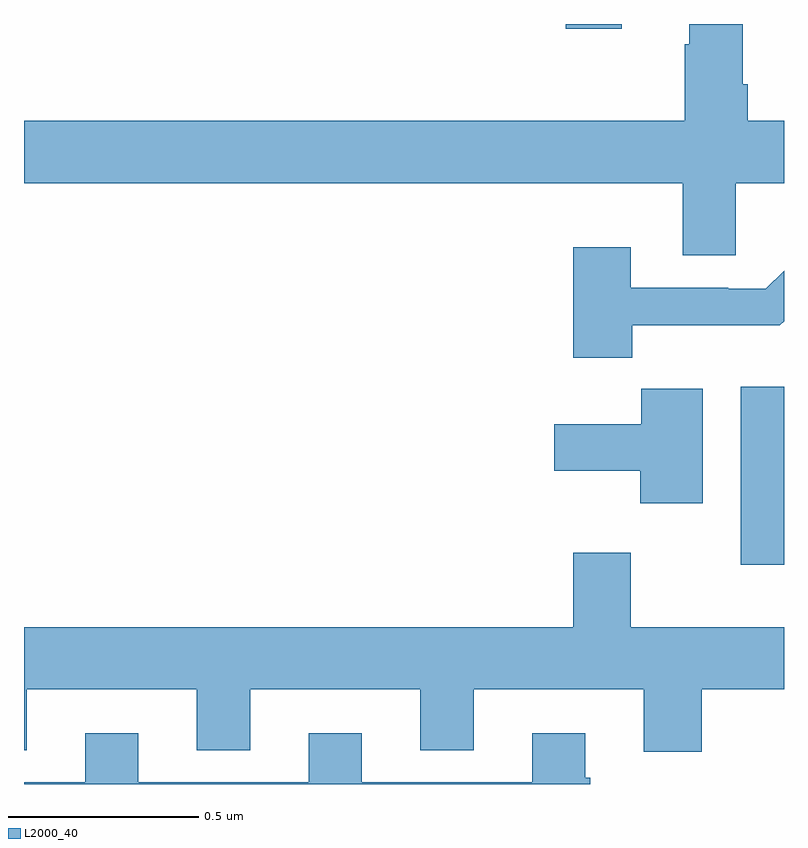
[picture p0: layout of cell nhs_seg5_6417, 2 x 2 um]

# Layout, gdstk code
import gdstk
lib = gdstk.Library(unit=1e-6, precision=1e-09)
def R(c, l, rs):  # rectangles x0, y0, x1, y1
    for r in rs: c.add(gdstk.rectangle(r[:2], r[2:], *l))
def P(c, l, *ps):  # polygons
    for p in ps: c.add(gdstk.Polygon(p, *l))
L2000_40 = (2000, 40)

nhs_seg5_6417 = lib.new_cell('nhs_seg5_6417')
R(nhs_seg5_6417, L2000_40, [(196.886,902.376,197,902.845), (196.425,903.786,196.573,903.799)])
P(nhs_seg5_6417, L2000_40, [(196.873,903.38),(197,903.38),(197,903.544),(196.904,903.544),(196.904,903.64),(196.891,903.64),(196.891,903.799),(196.751,903.799),(196.751,903.746),(196.739,903.746),(196.739,903.544),(195,903.544),(195,903.38),(196.733,903.38),(196.733,903.19),(196.873,903.19)],
  [(196.6,903.006),(196.989,903.006),(197,903.017),(197,903.15),(196.952,903.102),(196.853,903.102),(196.853,903.105),(196.597,903.105),(196.597,903.211),(196.445,903.211),(196.445,902.921),(196.6,902.921)],
  [(196.786,902.839),(196.624,902.839),(196.624,902.746),(196.395,902.746),(196.395,902.624),(196.622,902.624),(196.622,902.538),(196.786,902.538)],
  [(196.784,902.048),(197,902.048),(197,902.212),(196.597,902.212),(196.597,902.407),(196.445,902.407),(196.445,902.212),(195,902.212),(195,901.888),(195.007,901.888),(195.007,902.048),(195.455,902.048),(195.455,901.888),(195.595,901.888),(195.595,902.048),(196.043,902.048),(196.043,901.888),(196.183,901.888),(196.183,902.048),(196.631,902.048),(196.631,901.884),(196.784,901.884)],
  [(196.49,901.815),(196.477,901.815),(196.477,901.933),(196.337,901.933),(196.337,901.803),(195.889,901.803),(195.889,901.933),(195.749,901.933),(195.749,901.803),(195.301,901.803),(195.301,901.933),(195.161,901.933),(195.161,901.803),(195,901.803),(195,901.799),(196.49,901.799)])

lib.write_gds('nhs_seg5_6417.gds')
